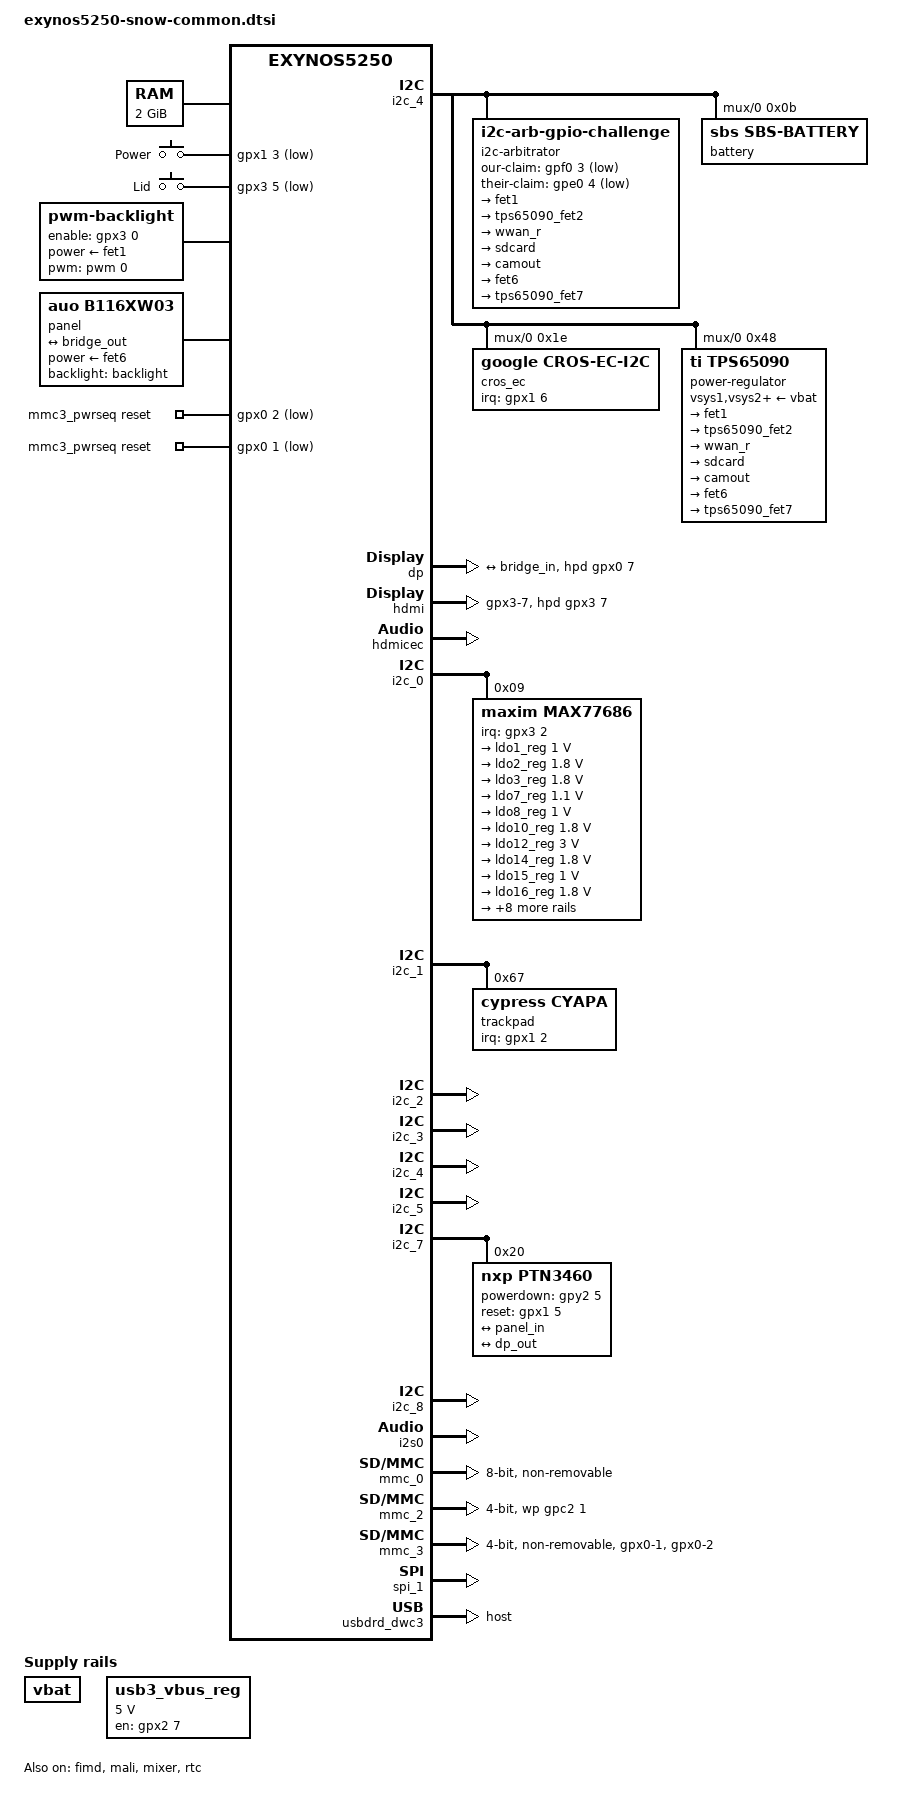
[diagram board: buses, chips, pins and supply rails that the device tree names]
// SPDX-License-Identifier: GPL-2.0
/*
 * Google Snow board device tree source
 *
 * Copyright (c) 2012 Google, Inc
 */

#include <dt-bindings/gpio/gpio.h>
#include <dt-bindings/clock/maxim,max77686.h>
#include <dt-bindings/interrupt-controller/irq.h>
#include <dt-bindings/input/input.h>
#include <dt-bindings/sound/samsung-i2s.h>
#include "exynos5250.dtsi"

/ {
	aliases {
		i2c104 = &i2c_104;
	};

	memory@40000000 {
		device_type = "memory";
		reg = <0x40000000 0x80000000>;
	};

	chosen {
		bootargs = "console=tty1";
		stdout-path = "serial3:115200n8";
	};

	gpio-keys {
		compatible = "gpio-keys";
		pinctrl-names = "default";
		pinctrl-0 = <&power_key_irq &lid_irq>;

		power {
			label = "Power";
			gpios = <&gpx1 3 GPIO_ACTIVE_LOW>;
			linux,code = <KEY_POWER>;
			wakeup-source;
		};

		lid-switch {
			label = "Lid";
			gpios = <&gpx3 5 GPIO_ACTIVE_LOW>;
			linux,input-type = <5>; /* EV_SW */
			linux,code = <0>; /* SW_LID */
			debounce-interval = <1>;
			wakeup-source;
		};
	};

	vbat: vbat-fixed-regulator {
		compatible = "regulator-fixed";
		regulator-name = "vbat-supply";
		regulator-boot-on;
	};

	i2c-arbitrator {
		compatible = "i2c-arb-gpio-challenge";
		#address-cells = <1>;
		#size-cells = <0>;

		i2c-parent = <&i2c_4>;

		our-claim-gpio = <&gpf0 3 GPIO_ACTIVE_LOW>;
		their-claim-gpios = <&gpe0 4 GPIO_ACTIVE_LOW>;
		slew-delay-us = <10>;
		wait-retry-us = <3000>;
		wait-free-us = <50000>;

		pinctrl-names = "default";
		pinctrl-0 = <&arb_our_claim &arb_their_claim>;

		/* Use ID 104 as a hint that we're on physical bus 4 */
		i2c_104: i2c@0 {
			reg = <0>;
			#address-cells = <1>;
			#size-cells = <0>;

			battery: sbs-battery@b {
				compatible = "sbs,sbs-battery";
				reg = <0xb>;
				sbs,poll-retry-count = <1>;
			};

			cros_ec: embedded-controller@1e {
				compatible = "google,cros-ec-i2c";
				reg = <0x1e>;
				interrupts = <6 IRQ_TYPE_NONE>;
				interrupt-parent = <&gpx1>;
				pinctrl-names = "default";
				pinctrl-0 = <&ec_irq>;
				wakeup-source;
			};

			power-regulator@48 {
				compatible = "ti,tps65090";
				reg = <0x48>;

				/*
				 * Config irq to disable internal pulls
				 * even though we run in polling mode.
				 */
				pinctrl-names = "default";
				pinctrl-0 = <&tps65090_irq>;

				vsys1-supply = <&vbat>;
				vsys2-supply = <&vbat>;
				vsys3-supply = <&vbat>;
				infet1-supply = <&vbat>;
				infet2-supply = <&vbat>;
				infet3-supply = <&vbat>;
				infet4-supply = <&vbat>;
				infet5-supply = <&vbat>;
				infet6-supply = <&vbat>;
				infet7-supply = <&vbat>;
				vsys-l1-supply = <&vbat>;
				vsys-l2-supply = <&vbat>;

				regulators {
					dcdc1 {
						ti,enable-ext-control;
					};
					dcdc2 {
						ti,enable-ext-control;
					};
					dcdc3 {
						ti,enable-ext-control;
					};
					fet1: fet1 {
						regulator-name = "vcd_led";
						ti,overcurrent-wait = <3>;
					};
					tps65090_fet2: fet2 {
						regulator-name = "video_mid";
						regulator-always-on;
						ti,overcurrent-wait = <3>;
					};
					fet3 {
						regulator-name = "wwan_r";
						regulator-always-on;
						ti,overcurrent-wait = <3>;
					};
					fet4 {
						regulator-name = "sdcard";
						ti,overcurrent-wait = <3>;
					};
					fet5 {
						regulator-name = "camout";
						regulator-always-on;
						ti,overcurrent-wait = <3>;
					};
					fet6: fet6 {
						regulator-name = "lcd_vdd";
						ti,overcurrent-wait = <3>;
					};
					tps65090_fet7: fet7 {
						regulator-name = "video_mid_1a";
						regulator-always-on;
						ti,overcurrent-wait = <3>;
					};
					ldo1 {
					};
					ldo2 {
					};
				};

				charger {
					compatible = "ti,tps65090-charger";
				};
			};
		};
	};

	sound {
		samsung,i2s-controller = <&i2s0>;
	};

	usb3_vbus_reg: regulator-usb3 {
		compatible = "regulator-fixed";
		regulator-name = "P5.0V_USB3CON";
		regulator-min-microvolt = <5000000>;
		regulator-max-microvolt = <5000000>;
		gpio = <&gpx2 7 GPIO_ACTIVE_HIGH>;
		pinctrl-names = "default";
		pinctrl-0 = <&usb3_vbus_en>;
		enable-active-high;
	};

	fixed-rate-clocks {
		xxti {
			compatible = "samsung,clock-xxti";
			clock-frequency = <24000000>;
		};
	};

	backlight: backlight {
		compatible = "pwm-backlight";
		pwms = <&pwm 0 1000000 0>;
		brightness-levels = <0 100 500 1000 1500 2000 2500 2800>;
		default-brightness-level = <7>;
		enable-gpios = <&gpx3 0 GPIO_ACTIVE_HIGH>;
		power-supply = <&fet1>;
		pinctrl-0 = <&pwm0_out>;
		pinctrl-names = "default";
	};

	panel: panel {
		compatible = "auo,b116xw03";
		power-supply = <&fet6>;
		backlight = <&backlight>;

		port {
			panel_in: endpoint {
				remote-endpoint = <&bridge_out>;
			};
		};
	};

	mmc3_pwrseq: mmc3_pwrseq {
		compatible = "mmc-pwrseq-simple";
		reset-gpios = <&gpx0 2 GPIO_ACTIVE_LOW>, /* WIFI_RSTn */
			      <&gpx0 1 GPIO_ACTIVE_LOW>; /* WIFI_EN */
		clocks = <&max77686 MAX77686_CLK_PMIC>;
		clock-names = "ext_clock";
	};
};

&clock {
	assigned-clocks = <&clock CLK_FOUT_EPLL>;
	assigned-clock-rates = <49152000>;
};

&clock_audss {
	assigned-clocks = <&clock_audss EXYNOS_MOUT_AUDSS>;
	assigned-clock-parents = <&clock CLK_FOUT_EPLL>;
};

&cpu0 {
	cpu0-supply = <&buck2_reg>;
};

&dp {
	status = "okay";
	pinctrl-names = "default";
	pinctrl-0 = <&dp_hpd>;
	samsung,color-space = <0>;
	samsung,color-depth = <1>;
	samsung,link-rate = <0x0a>;
	samsung,lane-count = <2>;
	hpd-gpios = <&gpx0 7 GPIO_ACTIVE_HIGH>;

	ports {
		port {
			dp_out: endpoint {
				remote-endpoint = <&bridge_in>;
			};
		};
	};
};

&ehci {
	samsung,vbus-gpio = <&gpx1 1 GPIO_ACTIVE_HIGH>;
};

&fimd {
	status = "okay";
	samsung,invert-vclk;
};

&hdmi {
	status = "okay";
	hpd-gpios = <&gpx3 7 GPIO_ACTIVE_HIGH>;
	pinctrl-names = "default";
	pinctrl-0 = <&hdmi_hpd_irq>;
	ddc = <&i2c_2>;
	hdmi-en-supply = <&tps65090_fet7>;
	vdd-supply = <&ldo8_reg>;
	vdd_osc-supply = <&ldo10_reg>;
	vdd_pll-supply = <&ldo8_reg>;
};

&hdmicec {
	status = "okay";
};

&i2c_0 {
	status = "okay";
	samsung,i2c-sda-delay = <100>;
	samsung,i2c-max-bus-freq = <378000>;

	max77686: max77686@9 {
		compatible = "maxim,max77686";
		interrupt-parent = <&gpx3>;
		interrupts = <2 IRQ_TYPE_NONE>;
		pinctrl-names = "default";
		pinctrl-0 = <&max77686_irq>;
		wakeup-source;
		reg = <0x09>;
		#clock-cells = <1>;

		voltage-regulators {
			ldo1_reg: LDO1 {
				regulator-name = "P1.0V_LDO_OUT1";
				regulator-min-microvolt = <1000000>;
				regulator-max-microvolt = <1000000>;
				regulator-always-on;
			};

			ldo2_reg: LDO2 {
				regulator-name = "P1.8V_LDO_OUT2";
				regulator-min-microvolt = <1800000>;
				regulator-max-microvolt = <1800000>;
				regulator-always-on;
			};

			ldo3_reg: LDO3 {
				regulator-name = "P1.8V_LDO_OUT3";
				regulator-min-microvolt = <1800000>;
				regulator-max-microvolt = <1800000>;
				regulator-always-on;
			};

			ldo7_reg: LDO7 {
				regulator-name = "P1.1V_LDO_OUT7";
				regulator-min-microvolt = <1100000>;
				regulator-max-microvolt = <1100000>;
				regulator-always-on;
			};

			ldo8_reg: LDO8 {
				regulator-name = "P1.0V_LDO_OUT8";
				regulator-min-microvolt = <1000000>;
				regulator-max-microvolt = <1000000>;
				regulator-always-on;
			};

			ldo10_reg: LDO10 {
				regulator-name = "P1.8V_LDO_OUT10";
				regulator-min-microvolt = <1800000>;
				regulator-max-microvolt = <1800000>;
				regulator-always-on;
			};

			ldo12_reg: LDO12 {
				regulator-name = "P3.0V_LDO_OUT12";
				regulator-min-microvolt = <3000000>;
				regulator-max-microvolt = <3000000>;
				regulator-always-on;
			};

			ldo14_reg: LDO14 {
				regulator-name = "P1.8V_LDO_OUT14";
				regulator-min-microvolt = <1800000>;
				regulator-max-microvolt = <1800000>;
				regulator-always-on;
			};

			ldo15_reg: LDO15 {
				regulator-name = "P1.0V_LDO_OUT15";
				regulator-min-microvolt = <1000000>;
				regulator-max-microvolt = <1000000>;
				regulator-always-on;
			};

			ldo16_reg: LDO16 {
				regulator-name = "P1.8V_LDO_OUT16";
				regulator-min-microvolt = <1800000>;
				regulator-max-microvolt = <1800000>;
				regulator-always-on;
			};

			buck1_reg: BUCK1 {
				regulator-name = "vdd_mif";
				regulator-min-microvolt = <950000>;
				regulator-max-microvolt = <1300000>;
				regulator-always-on;
				regulator-boot-on;
			};

			buck2_reg: BUCK2 {
				regulator-name = "vdd_arm";
				regulator-min-microvolt = <850000>;
				regulator-max-microvolt = <1350000>;
				regulator-always-on;
				regulator-boot-on;
			};

			buck3_reg: BUCK3 {
				regulator-name = "vdd_int";
				regulator-min-microvolt = <900000>;
				regulator-max-microvolt = <1200000>;
				regulator-always-on;
				regulator-boot-on;
			};

			buck4_reg: BUCK4 {
				regulator-name = "vdd_g3d";
				regulator-min-microvolt = <850000>;
				regulator-max-microvolt = <1300000>;
				regulator-always-on;
				regulator-boot-on;
			};

			buck5_reg: BUCK5 {
				regulator-name = "P1.8V_BUCK_OUT5";
				regulator-min-microvolt = <1800000>;
				regulator-max-microvolt = <1800000>;
				regulator-always-on;
				regulator-boot-on;
			};

			buck6_reg: BUCK6 {
				regulator-name = "P1.35V_BUCK_OUT6";
				regulator-min-microvolt = <1350000>;
				regulator-max-microvolt = <1350000>;
				regulator-always-on;
			};

			buck7_reg: BUCK7 {
				regulator-name = "P2.0V_BUCK_OUT7";
				regulator-min-microvolt = <2000000>;
				regulator-max-microvolt = <2000000>;
				regulator-always-on;
			};

			buck8_reg: BUCK8 {
				regulator-name = "P2.85V_BUCK_OUT8";
				regulator-min-microvolt = <2850000>;
				regulator-max-microvolt = <2850000>;
				regulator-always-on;
			};
		};
	};
};

&i2c_1 {
	status = "okay";
	samsung,i2c-sda-delay = <100>;
	samsung,i2c-max-bus-freq = <378000>;

	trackpad@67 {
		reg = <0x67>;
		compatible = "cypress,cyapa";
		interrupts = <2 IRQ_TYPE_NONE>;
		interrupt-parent = <&gpx1>;
		wakeup-source;
	};
};

/*
 * Disabled pullups since external part has its own pullups and
 * double-pulling gets us out of spec in some cases.
 */
&i2c2_bus {
	samsung,pin-pud = <EXYNOS_PIN_PULL_NONE>;
};

&i2c_2 {
	status = "okay";
	/* used by HDMI DDC */
	samsung,i2c-sda-delay = <100>;
	samsung,i2c-max-bus-freq = <66000>;
};

&i2c_3 {
	status = "okay";
	samsung,i2c-sda-delay = <100>;
	samsung,i2c-max-bus-freq = <66000>;
};

&i2c_4 {
	status = "okay";
	samsung,i2c-sda-delay = <100>;
	samsung,i2c-max-bus-freq = <66000>;
};

&i2c_5 {
	status = "okay";
	samsung,i2c-sda-delay = <100>;
	samsung,i2c-max-bus-freq = <66000>;
};

&i2c_7 {
	status = "okay";
	samsung,i2c-sda-delay = <100>;
	samsung,i2c-max-bus-freq = <66000>;

	ptn3460: lvds-bridge@20 {
		compatible = "nxp,ptn3460";
		reg = <0x20>;
		powerdown-gpios = <&gpy2 5 GPIO_ACTIVE_HIGH>;
		reset-gpios = <&gpx1 5 GPIO_ACTIVE_HIGH>;
		edid-emulation = <5>;

		ports {
			#address-cells = <1>;
			#size-cells = <0>;

			port@0 {
				reg = <0>;

				bridge_out: endpoint {
					remote-endpoint = <&panel_in>;
				};
			};

			port@1 {
				reg = <1>;

				bridge_in: endpoint {
					remote-endpoint = <&dp_out>;
				};
			};
		};
	};
};

&i2c_8 {
	status = "okay";
	/* used by HDMI PHY */
	samsung,i2c-sda-delay = <100>;
	samsung,i2c-max-bus-freq = <378000>;
};

&i2s0 {
	assigned-clocks = <&i2s0 CLK_I2S_RCLK_SRC>;
	assigned-clock-parents = <&clock_audss EXYNOS_I2S_BUS>;
	status = "okay";
};

&mali {
	mali-supply = <&buck4_reg>;
	status = "okay";
};

&mixer {
	status = "okay";
};

/* eMMC flash */
&mmc_0 {
	status = "okay";
	non-removable;
	samsung,dw-mshc-ciu-div = <3>;
	samsung,dw-mshc-sdr-timing = <2 3>;
	samsung,dw-mshc-ddr-timing = <1 2>;
	pinctrl-names = "default";
	pinctrl-0 = <&sd0_clk &sd0_cmd &sd0_cd &sd0_bus4 &sd0_bus8>;
	bus-width = <8>;
	cap-mmc-highspeed;
};

/* uSD card */
&mmc_2 {
	status = "okay";
	card-detect-delay = <200>;
	samsung,dw-mshc-ciu-div = <3>;
	samsung,dw-mshc-sdr-timing = <2 3>;
	samsung,dw-mshc-ddr-timing = <1 2>;
	pinctrl-names = "default";
	pinctrl-0 = <&sd2_clk &sd2_cmd &sd2_cd &sd2_bus4>;
	bus-width = <4>;
	wp-gpios = <&gpc2 1 GPIO_ACTIVE_HIGH>;
	cap-sd-highspeed;
};

/*
 * On Snow we've got SIP WiFi and so can keep drive strengths low to
 * reduce EMI.
 *
 * WiFi SDIO module
 */
&mmc_3 {
	status = "okay";
	non-removable;
	cap-sdio-irq;
	keep-power-in-suspend;
	samsung,dw-mshc-ciu-div = <3>;
	samsung,dw-mshc-sdr-timing = <2 3>;
	samsung,dw-mshc-ddr-timing = <1 2>;
	pinctrl-names = "default";
	pinctrl-0 = <&sd3_clk &sd3_cmd &sd3_bus4 &wifi_en &wifi_rst>;
	bus-width = <4>;
	cap-sd-highspeed;
	mmc-pwrseq = <&mmc3_pwrseq>;
};

&pinctrl_0 {
	wifi_en: wifi-en {
		samsung,pins = "gpx0-1";
		samsung,pin-function = <EXYNOS_PIN_FUNC_OUTPUT>;
		samsung,pin-pud = <EXYNOS_PIN_PULL_NONE>;
		samsung,pin-drv = <EXYNOS4_PIN_DRV_LV1>;
	};

	wifi_rst: wifi-rst {
		samsung,pins = "gpx0-2";
		samsung,pin-function = <EXYNOS_PIN_FUNC_OUTPUT>;
		samsung,pin-pud = <EXYNOS_PIN_PULL_NONE>;
		samsung,pin-drv = <EXYNOS4_PIN_DRV_LV1>;
	};

	power_key_irq: power-key-irq {
		samsung,pins = "gpx1-3";
		samsung,pin-function = <EXYNOS_PIN_FUNC_F>;
		samsung,pin-pud = <EXYNOS_PIN_PULL_NONE>;
		samsung,pin-drv = <EXYNOS4_PIN_DRV_LV1>;
	};

	ec_irq: ec-irq {
		samsung,pins = "gpx1-6";
		samsung,pin-function = <EXYNOS_PIN_FUNC_INPUT>;
		samsung,pin-pud = <EXYNOS_PIN_PULL_NONE>;
		samsung,pin-drv = <EXYNOS4_PIN_DRV_LV1>;
	};

	tps65090_irq: tps65090-irq {
		samsung,pins = "gpx2-6";
		samsung,pin-function = <EXYNOS_PIN_FUNC_INPUT>;
		samsung,pin-pud = <EXYNOS_PIN_PULL_NONE>;
		samsung,pin-drv = <EXYNOS4_PIN_DRV_LV1>;
	};

	usb3_vbus_en: usb3-vbus-en {
		samsung,pins = "gpx2-7";
		samsung,pin-function = <EXYNOS_PIN_FUNC_OUTPUT>;
		samsung,pin-pud = <EXYNOS_PIN_PULL_NONE>;
		samsung,pin-drv = <EXYNOS4_PIN_DRV_LV1>;
	};

	max77686_irq: max77686-irq {
		samsung,pins = "gpx3-2";
		samsung,pin-function = <EXYNOS_PIN_FUNC_INPUT>;
		samsung,pin-pud = <EXYNOS_PIN_PULL_NONE>;
		samsung,pin-drv = <EXYNOS4_PIN_DRV_LV1>;
	};

	lid_irq: lid-irq {
		samsung,pins = "gpx3-5";
		samsung,pin-function = <EXYNOS_PIN_FUNC_F>;
		samsung,pin-pud = <EXYNOS_PIN_PULL_NONE>;
		samsung,pin-drv = <EXYNOS4_PIN_DRV_LV1>;
	};

	hdmi_hpd_irq: hdmi-hpd-irq {
		samsung,pins = "gpx3-7";
		samsung,pin-function = <EXYNOS_PIN_FUNC_INPUT>;
		samsung,pin-pud = <EXYNOS_PIN_PULL_DOWN>;
		samsung,pin-drv = <EXYNOS4_PIN_DRV_LV1>;
	};
};

&pinctrl_1 {
	arb_their_claim: arb-their-claim {
		samsung,pins = "gpe0-4";
		samsung,pin-function = <EXYNOS_PIN_FUNC_INPUT>;
		samsung,pin-pud = <EXYNOS_PIN_PULL_UP>;
		samsung,pin-drv = <EXYNOS4_PIN_DRV_LV1>;
	};

	arb_our_claim: arb-our-claim {
		samsung,pins = "gpf0-3";
		samsung,pin-function = <EXYNOS_PIN_FUNC_OUTPUT>;
		samsung,pin-pud = <EXYNOS_PIN_PULL_NONE>;
		samsung,pin-drv = <EXYNOS4_PIN_DRV_LV1>;
	};
};

&pmu_system_controller {
	assigned-clocks = <&pmu_system_controller 0>;
	assigned-clock-parents = <&clock CLK_FIN_PLL>;
};

&rtc {
	status = "okay";
	clocks = <&clock CLK_RTC>, <&max77686 MAX77686_CLK_AP>;
	clock-names = "rtc", "rtc_src";
};

&sd3_bus4 {
	samsung,pin-drv = <EXYNOS4_PIN_DRV_LV1>;
};

&sd3_clk {
	samsung,pin-drv = <EXYNOS4_PIN_DRV_LV1>;
};

&sd3_cmd {
	samsung,pin-pud = <EXYNOS_PIN_PULL_UP>;
	samsung,pin-drv = <EXYNOS4_PIN_DRV_LV1>;
};

&spi_1 {
	status = "okay";
	samsung,spi-src-clk = <0>;
	num-cs = <1>;
	cs-gpios = <&gpa2 5 GPIO_ACTIVE_HIGH>;
};

&usbdrd_dwc3 {
	dr_mode = "host";
};

&usbdrd_phy {
	vbus-supply = <&usb3_vbus_reg>;
};

#include "cros-ec-keyboard.dtsi"
